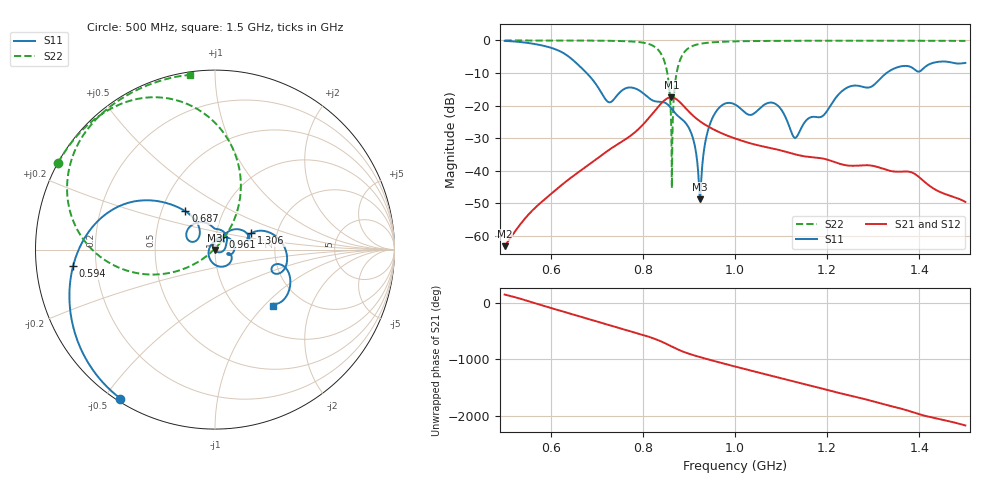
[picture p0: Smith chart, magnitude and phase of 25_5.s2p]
! TOUCHSTONE file generated by CST MICROWAVE STUDIO
! Date and time: Fri Oct  2 19:14:33 2020
! Project name: Scenario_1_Free_Space_out_of_line.cst
! Parameters = {Lambda=346.42; Step_1=17.321; dy1=-68.544; dx1=866; L_HA=400; MT=2.54; Rad_Dielectric=30; Rad_Lower=7.3; Rad_Upper=30; a_HA=580; a_WG=246; b_HA=500; b_WG=121; c_HA=0; c_WG=187; d_feed=85; h_feed=15; h_lower=18; h_upper=40}
! Header version: 2018
! Port assignment regex: !\s*Touchstone port\s*([0-9]+)\s*=\s*(CST MWS port|CST DS port)\s*([0-9]+|Zmin|Zmax)\s*\(\"(.*)\"\)(\s*mode\s*([0-9]+))?.*
! Touchstone port assignment:
! Touchstone port 1 = CST MWS port 1 ("")
! Touchstone port 2 = CST MWS port 2 ("")
# GHz S DB R 50
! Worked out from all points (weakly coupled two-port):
!   1003 points, 500 MHz to 1.5 GHz, reference 50 ohm
!   highest |S21| = -17.45 dB at 862 MHz (marker M1); lowest = -63.2 dB at 500 MHz (marker M2)
!   lowest |S11| = -48.8 dB at 924 MHz (marker M3), VSWR 1.01, Z = 49.7 - j0.234 ohm
!   |S11| at or under -10 dB: 678 MHz to 1.329 GHz (650.9 MHz wide, 64.9 % of centre)
!   |S22| runs from -45.3 to 0.0 dB; largest |S21 - S12| = 4.4e-05
!   S11 on the Smith chart (normalised r, x): 500 MHz: 0.01, -0.55; 594 MHz: 0.11, -0.06; 687 MHz: 0.66, +0.30; 961 MHz: 1.08, +0.16; 1.306 GHz: 1.48, +0.28; 1.5 GHz: 1.43, -1.13
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0.5  -0.15 -122.4  -63.16 143.8  -63.16 143.8  -0.01 151.1
0.594  -1.98 -173.3  -47.92 -78.0  -47.92 -78.0  -0.02 144.6
0.667  -8.45 136.5  -39.77 108.3  -39.77 108.3  -0.04 138.4
0.687  -11.39 127.7  -37.74 61.5  -37.74 61.5  -0.06 136.3
0.726  -18.96 143.7  -33.66 -32.0  -33.66 -32.0  -0.12 131.5
0.772  -14.44 139.6  -29.40 -142.2  -29.40 -142.2  -0.29 123.1
0.834  -18.80 84.1  -20.23 54.8  -20.23 54.8  -3.00 90.1
0.852  -19.45 58.1  -17.87 -10.8  -17.87 -10.8  -9.25 65.6
0.862  -20.91 41.8  -17.45 -51.1  -17.45 -51.1  -28.71 52.9
0.882  -23.86 19.0  -19.17 -127.3  -19.17 -127.3  -5.58 -168.1
0.908  -29.68 -26.9  -22.97 157.3  -22.97 157.3  -1.69 166.7
0.924  -48.80 -139.6  -24.82 118.7  -24.82 118.7  -1.05 158.4
0.94  -28.30 101.8  -26.28 82.1  -26.28 82.1  -0.72 152.8
0.961  -21.42 58.0  -27.84 35.6  -27.84 35.6  -0.49 147.5
1  -19.67 -7.0  -30.10 -47.7  -30.10 -47.7  -0.28 140.8
1.087  -19.41 -60.8  -33.33 131.0  -33.33 131.0  -0.14 131.1
1.13  -29.92 158.9  -34.95 41.9  -34.95 41.9  -0.11 127.4
1.167  -23.48 47.2  -35.84 -31.9  -35.84 -31.9  -0.10 124.3
1.243  -14.52 34.5  -38.37 173.4  -38.37 173.4  -0.09 118.5
1.306  -13.07 24.2  -38.72 41.3  -38.72 41.3  -0.09 113.7
1.334  -9.50 14.6  -39.94 -17.9  -39.94 -17.9  -0.09 111.6
1.5  -6.90 -44.2  -49.58 -9.0  -49.58 -8.3  -0.14 98.1
